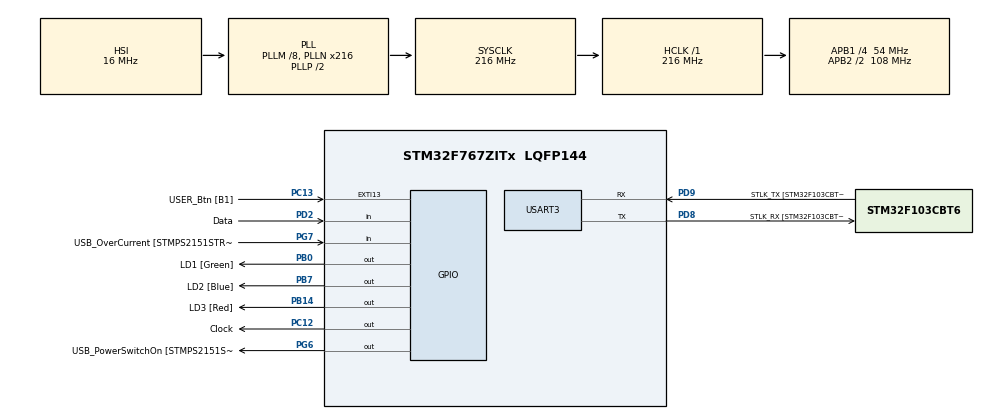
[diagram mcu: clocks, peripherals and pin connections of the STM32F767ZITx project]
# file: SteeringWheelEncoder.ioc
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Mcu.Family=STM32F7
Mcu.Name=STM32F767ZITx
Mcu.Package=LQFP144
NVIC.PriorityGroup=NVIC_PRIORITYGROUP_4
NVIC.TIM6_DAC_IRQn=true\:0\:0\:false\:false\:true\:true\:true
NVIC.TIM7_IRQn=true\:0\:0\:false\:false\:true\:true\:true
PA1.GPIO_Label=RMII_REF_CLK [LAN8742A-CZ-TR_REFCLK0]
PA1.Signal=ETH_REF_CLK
PA10.GPIO_Label=USB_ID
PA10.Signal=USB_OTG_FS_ID
PA11.GPIO_Label=USB_DM
PA11.Signal=USB_OTG_FS_DM
PA12.GPIO_Label=USB_DP
PA12.Signal=USB_OTG_FS_DP
PA13.GPIO_Label=TMS
PA13.Signal=SYS_JTMS-SWDIO
PA14.GPIO_Label=TCK
PA14.Signal=SYS_JTCK-SWCLK
PA2.GPIO_Label=RMII_MDIO [LAN8742A-CZ-TR_MDIO]
PA2.Signal=ETH_MDIO
PA7.GPIO_Label=RMII_CRS_DV [LAN8742A-CZ-TR_CRS_DV]
PA7.Signal=ETH_CRS_DV
PA8.GPIO_Label=USB_SOF [TP1]
PA8.Signal=USB_OTG_FS_SOF
PA9.GPIO_Label=USB_VBUS
PA9.Signal=USB_OTG_FS_VBUS
PB0.GPIO_Label=LD1 [Green]
PB0.Signal=GPIO_Output
PB13.GPIO_Label=RMII_TXD1 [LAN8742A-CZ-TR_TXD1]
PB13.Signal=ETH_TXD1
PB14.GPIO_Label=LD3 [Red]
PB14.Signal=GPIO_Output
PB3.GPIO_Label=SW0
PB3.Signal=SYS_JTDO-SWO
PB7.GPIO_Label=LD2 [Blue]
PB7.Signal=GPIO_Output
PC1.GPIO_Label=RMII_MDC [LAN8742A-CZ-TR_MDC]
PC1.Signal=ETH_MDC
PC12.GPIO_Label=Clock
PC12.GPIO_Speed=GPIO_SPEED_FREQ_VERY_HIGH
PC12.Signal=GPIO_Output
PC13.GPIO_Label=USER_Btn [B1]
PC13.Signal=GPXTI13
PC14/OSC32_IN.Signal=RCC_OSC32_IN
PC15/OSC32_OUT.Signal=RCC_OSC32_OUT
PC4.GPIO_Label=RMII_RXD0 [LAN8742A-CZ-TR_RXD0]
PC4.Signal=ETH_RXD0
PC5.GPIO_Label=RMII_RXD1 [LAN8742A-CZ-TR_RXD1]
PC5.Signal=ETH_RXD1
PD2.GPIO_Label=Data
PD2.Signal=GPIO_Input
PD8.GPIO_Label=STLK_RX [STM32F103CBT6_PA3]
PD8.Mode=Asynchronous
PD8.Signal=USART3_TX
PD9.GPIO_Label=STLK_TX [STM32F103CBT6_PA2]
PD9.Mode=Asynchronous
PD9.Signal=USART3_RX
PG11.GPIO_Label=RMII_TX_EN [LAN8742A-CZ-TR_TXEN]
PG11.Signal=ETH_TX_EN
PG13.GPIO_Label=RMII_TXD0 [LAN8742A-CZ-TR_TXD0]
PG13.Signal=ETH_TXD0
PG6.GPIO_Label=USB_PowerSwitchOn [STMPS2151STR_EN]
PG6.Signal=GPIO_Output
PG7.GPIO_Label=USB_OverCurrent [STMPS2151STR_FAULT]
PG7.Signal=GPIO_Input
PH0/OSC_IN.GPIO_Label=MCO [STM32F103CBT6_PA8]
PH0/OSC_IN.Signal=RCC_OSC_IN
PH1/OSC_OUT.Signal=RCC_OSC_OUT
ProjectManager.HeapSize=0x200
ProjectManager.StackSize=0x400
ProjectManager.TargetToolchain=Makefile
RCC.48MHZClocksFreq_Value=24000000
RCC.AHBFreq_Value=216000000
RCC.APB1CLKDivider=RCC_HCLK_DIV4
RCC.APB1Freq_Value=54000000
RCC.APB1TimFreq_Value=108000000
RCC.APB2CLKDivider=RCC_HCLK_DIV2
RCC.APB2Freq_Value=108000000
RCC.APB2TimFreq_Value=216000000
RCC.CortexFreq_Value=216000000
RCC.HCLKFreq_Value=216000000
RCC.HSE_VALUE=16000000
RCC.HSI_VALUE=16000000
RCC.LSE_VALUE=32768
RCC.PLLM=8
RCC.PLLMUL=RCC_PLL_MUL9
RCC.PLLN=216
RCC.PRESCALERUSB=RCC_USBCLKSOURCE_PLL_DIV1_5
RCC.SYSCLKFreq_VALUE=216000000
RCC.SYSCLKSource=RCC_SYSCLKSOURCE_PLLCLK
RCC.SYSCLKSourceVirtual=RCC_SYSCLKSOURCE_PLLCLK
RCC.USBFreq_Value=216000000
RCC.VCOOutputFreq_Value=432000000
TIM6.AutoReloadPreload=TIM_AUTORELOAD_PRELOAD_ENABLE
TIM6.Period=99
TIM6.Prescaler=54
TIM7.Period=3000
TIM7.Prescaler=9000
USART3.VirtualMode-Asynchronous=VM_ASYNC
VP_TIM6_VS_ClockSourceINT.Mode=Enable_Timer
VP_TIM7_VS_ClockSourceINT.Mode=Enable_Timer
board=NUCLEO-F767ZI

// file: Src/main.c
/* USER CODE BEGIN Header */
/**
  ******************************************************************************
  * @file           : main.c
  * @brief          : Main program body
  ******************************************************************************
  * @attention
  *
  * <h2><center>&copy; Copyright (c) 2020 STMicroelectronics.
  * All rights reserved.</center></h2>
  *
  * This software component is licensed by ST under BSD 3-Clause license,
  * the "License"; You may not use this file except in compliance with the
  * License. You may obtain a copy of the License at:
  *                        opensource.org/licenses/BSD-3-Clause
  *
  ******************************************************************************
  */
/* USER CODE END Header */

#include "main.h"
#include "Eagle_TRT.h"

#include "string.h"
#include "stdio.h"
#include "stdlib.h"
#include <inttypes.h>
#include "stm32f7xx_hal_gpio.h"
#include "stm32f7xx_it.h"
#include <math.h>

/* USER CODE BEGIN PTD */
typedef struct
{
  int data_size;         // Bits sent from the sensor. Exclude the error flag
  int error_flag;        // Return value if the encoder has errors
  int error_data_status; // Here we save the actual signal from the encoder
  int clock_period;      // Period between each data frame readed in milliseconds
  int clock_status;      // Here the status of the clock is saved
  int data_freq_Hz;      // Reading speed of the data frame
  int data[12];          // Binary value of the data readed from the steer encoder
  int steer_zero;        // In this variable will be saved the value for the position zero
  int data_count;        // Counter used to check when the buffer is full

  float max_delta_angle;
  float frequency;
  int frequency_timer_Hz;

  int angle;          // First angle calculated
  int converted_data; // Angle data

  TIM_HandleTypeDef *TimerInstance; // Instance to the timer used to generate the clock to read the data

  GPIO_TypeDef *ClockPinName;
  GPIO_TypeDef *DataPinName;
  uint16_t ClockPinNumber;
  uint16_t DataPinNumber;

} steer_enc;
/* USER CODE END PTD */

TIM_HandleTypeDef htim6;
TIM_HandleTypeDef htim7;

UART_HandleTypeDef huart3;

/* USER CODE BEGIN PV */
// steer_enc steer;
extern enc_stc enc;
TIM_HandleTypeDef a_TimerInstance6 = {.Instance = TIM6};
TIM_HandleTypeDef a_TimerInstance7 = {.Instance = TIM7};

char hmessage[256] = "";

/* USER CODE END PV */

void SystemClock_Config(void);
static void MX_GPIO_Init(void);
static void MX_TIM6_Init(void);
static void MX_TIM7_Init(void);
static void MX_USART3_UART_Init(void);
/* USER CODE BEGIN PFP */
// void print(UART_HandleTypeDef *huart, char *text);
void read_steer_SSI();
void check_steer_error(steer_enc *steer);
// int bin_dec(int *bin, int size);
// double Power(int base, int expn);
/* USER CODE END PFP */

/* USER CODE BEGIN 0 */
int steer_enc_prescaler;
int encoder_counter;
int previous_millis;
int second_millis;
/* USER CODE END 0 */

int main(void)
{

  /* MCU Configuration--------------------------------------------------------*/

  /* Reset of all peripherals, Initializes the Flash interface and the Systick. */
  HAL_Init();

  /* Configure the system clock */
  SystemClock_Config();

  /* Initialize all configured peripherals */
  MX_GPIO_Init();
  MX_TIM6_Init();
  MX_TIM7_Init();
  MX_USART3_UART_Init();
  /* USER CODE BEGIN 2 */
    steer_enc_prescaler = htim6.Init.Period;
    steer_enc_prescaler /= 3;
    steer_enc_prescaler /= 20;
    steer_enc_prescaler += 40;
    enc.steer_enc_prescaler = steer_enc_prescaler;

    enc.ClockPinName = GPIOC;
    enc.ClockPinNumber = GPIO_PIN_12;
    enc.DataPinName = GPIOD;
    enc.DataPinNumber = GPIO_PIN_2;

    enc.dx_wheel = 1;
    enc.interrupt_flag = 0;
    enc.TimerInstance = &a_TimerInstance6;
    enc.average_speed = 0;
    enc.wheel_diameter = 0.395;
    enc.data_size = 14;
    enc.clock_period = 2;
    enc.wheel_rotation = 0;
    enc.Km = 0;

  //Enabling the Timer that gives the time between each reading
  HAL_TIM_Base_Start(&htim7);
  HAL_TIM_Base_Start_IT(&htim7);

  enc.max_delta_angle = 90;

    enc.frequency = 80;
    HAL_GPIO_WritePin(enc.ClockPinName, enc.ClockPinNumber, GPIO_PIN_SET);

  /* USER CODE END 2 */

  /* Infinite loop */
  while (1)
  {

    char altro[200] = "";
    int val = -1;
    int val2 = -1;

    val = __HAL_TIM_GET_COUNTER(&htim6);
    val2 = __HAL_TIM_GET_COUNTER(&htim7);
    sprintf(altro, "\r\n\n\n In the MAIN  =>  TIM6 = %d -- TIM7 = %d", val, val2);
    print(&huart3, altro);

    // sprintf(hmessage, "All working");
    // print(&huart3, hmessage);
  }
}

void SystemClock_Config(void)
{
  RCC_OscInitTypeDef RCC_OscInitStruct = {0};
  RCC_ClkInitTypeDef RCC_ClkInitStruct = {0};
  RCC_PeriphCLKInitTypeDef PeriphClkInitStruct = {0};

  /** Configure the main internal regulator output voltage
  */
  __HAL_RCC_PWR_CLK_ENABLE();
  __HAL_PWR_VOLTAGESCALING_CONFIG(PWR_REGULATOR_VOLTAGE_SCALE1);
  /** Initializes the CPU, AHB and APB busses clocks
  */
  RCC_OscInitStruct.OscillatorType = RCC_OSCILLATORTYPE_HSI;
  RCC_OscInitStruct.HSIState = RCC_HSI_ON;
  RCC_OscInitStruct.HSICalibrationValue = RCC_HSICALIBRATION_DEFAULT;
  RCC_OscInitStruct.PLL.PLLState = RCC_PLL_ON;
  RCC_OscInitStruct.PLL.PLLSource = RCC_PLLSOURCE_HSI;
  RCC_OscInitStruct.PLL.PLLM = 8;
  RCC_OscInitStruct.PLL.PLLN = 216;
  RCC_OscInitStruct.PLL.PLLP = RCC_PLLP_DIV2;
  RCC_OscInitStruct.PLL.PLLQ = 2;
  if (HAL_RCC_OscConfig(&RCC_OscInitStruct) != HAL_OK)
  {
    Error_Handler();
  }
  /** Activate the Over-Drive mode
  */
  if (HAL_PWREx_EnableOverDrive() != HAL_OK)
  {
    Error_Handler();
  }
  /** Initializes the CPU, AHB and APB busses clocks
  */
  RCC_ClkInitStruct.ClockType = RCC_CLOCKTYPE_HCLK|RCC_CLOCKTYPE_SYSCLK
                              |RCC_CLOCKTYPE_PCLK1|RCC_CLOCKTYPE_PCLK2;
  RCC_ClkInitStruct.SYSCLKSource = RCC_SYSCLKSOURCE_PLLCLK;
  RCC_ClkInitStruct.AHBCLKDivider = RCC_SYSCLK_DIV1;
  RCC_ClkInitStruct.APB1CLKDivider = RCC_HCLK_DIV4;
  RCC_ClkInitStruct.APB2CLKDivider = RCC_HCLK_DIV2;

  if (HAL_RCC_ClockConfig(&RCC_ClkInitStruct, FLASH_LATENCY_7) != HAL_OK)
  {
    Error_Handler();
  }
  PeriphClkInitStruct.PeriphClockSelection = RCC_PERIPHCLK_USART3;
  PeriphClkInitStruct.Usart3ClockSelection = RCC_USART3CLKSOURCE_PCLK1;
  if (HAL_RCCEx_PeriphCLKConfig(&PeriphClkInitStruct) != HAL_OK)
  {
    Error_Handler();
  }
}

static void MX_TIM6_Init(void)
{

  TIM_MasterConfigTypeDef sMasterConfig = {0};

  htim6.Instance = TIM6;
  htim6.Init.Prescaler = 54;
  htim6.Init.CounterMode = TIM_COUNTERMODE_UP;
  htim6.Init.Period = 99;
  htim6.Init.AutoReloadPreload = TIM_AUTORELOAD_PRELOAD_ENABLE;
  if (HAL_TIM_Base_Init(&htim6) != HAL_OK)
  {
    Error_Handler();
  }
  sMasterConfig.MasterOutputTrigger = TIM_TRGO_RESET;
  sMasterConfig.MasterSlaveMode = TIM_MASTERSLAVEMODE_DISABLE;
  if (HAL_TIMEx_MasterConfigSynchronization(&htim6, &sMasterConfig) != HAL_OK)
  {
    Error_Handler();
  }

}

static void MX_TIM7_Init(void)
{

  TIM_MasterConfigTypeDef sMasterConfig = {0};

  htim7.Instance = TIM7;
  htim7.Init.Prescaler = 9000;
  htim7.Init.CounterMode = TIM_COUNTERMODE_UP;
  htim7.Init.Period = 3000;
  htim7.Init.AutoReloadPreload = TIM_AUTORELOAD_PRELOAD_DISABLE;
  if (HAL_TIM_Base_Init(&htim7) != HAL_OK)
  {
    Error_Handler();
  }
  sMasterConfig.MasterOutputTrigger = TIM_TRGO_RESET;
  sMasterConfig.MasterSlaveMode = TIM_MASTERSLAVEMODE_DISABLE;
  if (HAL_TIMEx_MasterConfigSynchronization(&htim7, &sMasterConfig) != HAL_OK)
  {
    Error_Handler();
  }

}

static void MX_USART3_UART_Init(void)
{

  huart3.Instance = USART3;
  huart3.Init.BaudRate = 115200;
  huart3.Init.WordLength = UART_WORDLENGTH_8B;
  huart3.Init.StopBits = UART_STOPBITS_1;
  huart3.Init.Parity = UART_PARITY_NONE;
  huart3.Init.Mode = UART_MODE_TX_RX;
  huart3.Init.HwFlowCtl = UART_HWCONTROL_NONE;
  huart3.Init.OverSampling = UART_OVERSAMPLING_16;
  huart3.Init.OneBitSampling = UART_ONE_BIT_SAMPLE_DISABLE;
  huart3.AdvancedInit.AdvFeatureInit = UART_ADVFEATURE_NO_INIT;
  if (HAL_UART_Init(&huart3) != HAL_OK)
  {
    Error_Handler();
  }

}

static void MX_GPIO_Init(void)
{
  GPIO_InitTypeDef GPIO_InitStruct = {0};

  /* GPIO Ports Clock Enable */
  __HAL_RCC_GPIOC_CLK_ENABLE();
  __HAL_RCC_GPIOH_CLK_ENABLE();
  __HAL_RCC_GPIOA_CLK_ENABLE();
  __HAL_RCC_GPIOB_CLK_ENABLE();
  __HAL_RCC_GPIOD_CLK_ENABLE();
  __HAL_RCC_GPIOG_CLK_ENABLE();

  /*Configure GPIO pin Output Level */
  HAL_GPIO_WritePin(GPIOB, LD1_Pin|LD3_Pin|LD2_Pin, GPIO_PIN_RESET);

  /*Configure GPIO pin Output Level */
  HAL_GPIO_WritePin(USB_PowerSwitchOn_GPIO_Port, USB_PowerSwitchOn_Pin, GPIO_PIN_RESET);

  /*Configure GPIO pin Output Level */
  HAL_GPIO_WritePin(Clock_GPIO_Port, Clock_Pin, GPIO_PIN_RESET);

  /*Configure GPIO pin : USER_Btn_Pin */
  GPIO_InitStruct.Pin = USER_Btn_Pin;
  GPIO_InitStruct.Mode = GPIO_MODE_IT_RISING;
  GPIO_InitStruct.Pull = GPIO_NOPULL;
  HAL_GPIO_Init(USER_Btn_GPIO_Port, &GPIO_InitStruct);

  /*Configure GPIO pins : RMII_MDC_Pin RMII_RXD0_Pin RMII_RXD1_Pin */
  GPIO_InitStruct.Pin = RMII_MDC_Pin|RMII_RXD0_Pin|RMII_RXD1_Pin;
  GPIO_InitStruct.Mode = GPIO_MODE_AF_PP;
  GPIO_InitStruct.Pull = GPIO_NOPULL;
  GPIO_InitStruct.Speed = GPIO_SPEED_FREQ_VERY_HIGH;
  GPIO_InitStruct.Alternate = GPIO_AF11_ETH;
  HAL_GPIO_Init(GPIOC, &GPIO_InitStruct);

  /*Configure GPIO pins : RMII_REF_CLK_Pin RMII_MDIO_Pin RMII_CRS_DV_Pin */
  GPIO_InitStruct.Pin = RMII_REF_CLK_Pin|RMII_MDIO_Pin|RMII_CRS_DV_Pin;
  GPIO_InitStruct.Mode = GPIO_MODE_AF_PP;
  GPIO_InitStruct.Pull = GPIO_NOPULL;
  GPIO_InitStruct.Speed = GPIO_SPEED_FREQ_VERY_HIGH;
  GPIO_InitStruct.Alternate = GPIO_AF11_ETH;
  HAL_GPIO_Init(GPIOA, &GPIO_InitStruct);

  /*Configure GPIO pins : LD1_Pin LD3_Pin LD2_Pin */
  GPIO_InitStruct.Pin = LD1_Pin|LD3_Pin|LD2_Pin;
  GPIO_InitStruct.Mode = GPIO_MODE_OUTPUT_PP;
  GPIO_InitStruct.Pull = GPIO_NOPULL;
  GPIO_InitStruct.Speed = GPIO_SPEED_FREQ_LOW;
  HAL_GPIO_Init(GPIOB, &GPIO_InitStruct);

  /*Configure GPIO pin : RMII_TXD1_Pin */
  GPIO_InitStruct.Pin = RMII_TXD1_Pin;
  GPIO_InitStruct.Mode = GPIO_MODE_AF_PP;
  GPIO_InitStruct.Pull = GPIO_NOPULL;
  GPIO_InitStruct.Speed = GPIO_SPEED_FREQ_VERY_HIGH;
  GPIO_InitStruct.Alternate = GPIO_AF11_ETH;
  HAL_GPIO_Init(RMII_TXD1_GPIO_Port, &GPIO_InitStruct);

  /*Configure GPIO pin : USB_PowerSwitchOn_Pin */
  GPIO_InitStruct.Pin = USB_PowerSwitchOn_Pin;
  GPIO_InitStruct.Mode = GPIO_MODE_OUTPUT_PP;
  GPIO_InitStruct.Pull = GPIO_NOPULL;
  GPIO_InitStruct.Speed = GPIO_SPEED_FREQ_LOW;
  HAL_GPIO_Init(USB_PowerSwitchOn_GPIO_Port, &GPIO_InitStruct);

  /*Configure GPIO pin : USB_OverCurrent_Pin */
  GPIO_InitStruct.Pin = USB_OverCurrent_Pin;
  GPIO_InitStruct.Mode = GPIO_MODE_INPUT;
  GPIO_InitStruct.Pull = GPIO_NOPULL;
  HAL_GPIO_Init(USB_OverCurrent_GPIO_Port, &GPIO_InitStruct);

  /*Configure GPIO pins : USB_SOF_Pin USB_ID_Pin USB_DM_Pin USB_DP_Pin */
  GPIO_InitStruct.Pin = USB_SOF_Pin|USB_ID_Pin|USB_DM_Pin|USB_DP_Pin;
  GPIO_InitStruct.Mode = GPIO_MODE_AF_PP;
  GPIO_InitStruct.Pull = GPIO_NOPULL;
  GPIO_InitStruct.Speed = GPIO_SPEED_FREQ_VERY_HIGH;
  GPIO_InitStruct.Alternate = GPIO_AF10_OTG_FS;
  HAL_GPIO_Init(GPIOA, &GPIO_InitStruct);

  /*Configure GPIO pin : USB_VBUS_Pin */
  GPIO_InitStruct.Pin = USB_VBUS_Pin;
  GPIO_InitStruct.Mode = GPIO_MODE_INPUT;
  GPIO_InitStruct.Pull = GPIO_NOPULL;
  HAL_GPIO_Init(USB_VBUS_GPIO_Port, &GPIO_InitStruct);

  /*Configure GPIO pin : Clock_Pin */
  GPIO_InitStruct.Pin = Clock_Pin;
  GPIO_InitStruct.Mode = GPIO_MODE_OUTPUT_PP;
  GPIO_InitStruct.Pull = GPIO_NOPULL;
  GPIO_InitStruct.Speed = GPIO_SPEED_FREQ_VERY_HIGH;
  HAL_GPIO_Init(Clock_GPIO_Port, &GPIO_InitStruct);

  /*Configure GPIO pin : Data_Pin */
  GPIO_InitStruct.Pin = Data_Pin;
  GPIO_InitStruct.Mode = GPIO_MODE_INPUT;
  GPIO_InitStruct.Pull = GPIO_NOPULL;
  HAL_GPIO_Init(Data_GPIO_Port, &GPIO_InitStruct);

  /*Configure GPIO pins : RMII_TX_EN_Pin RMII_TXD0_Pin */
  GPIO_InitStruct.Pin = RMII_TX_EN_Pin|RMII_TXD0_Pin;
  GPIO_InitStruct.Mode = GPIO_MODE_AF_PP;
  GPIO_InitStruct.Pull = GPIO_NOPULL;
  GPIO_InitStruct.Speed = GPIO_SPEED_FREQ_VERY_HIGH;
  GPIO_InitStruct.Alternate = GPIO_AF11_ETH;
  HAL_GPIO_Init(GPIOG, &GPIO_InitStruct);

}

/* USER CODE BEGIN 4 */
// print on uart
// void print(UART_HandleTypeDef *huart, char *text)
// {
//   HAL_UART_Transmit(huart, (uint8_t *)text, strlen(text), 0xFFFF);
// }

void HAL_TIM_PeriodElapsedCallback(TIM_HandleTypeDef *htim)
{
  char mes[200] = "";
  int val = -1;
  int val2 = -1;

  val = __HAL_TIM_GET_COUNTER(&htim6);
  val2 = __HAL_TIM_GET_COUNTER(&htim7);
  // sprintf(mes, "\r\n TIM6 = %d -- TIM7 = %d", val, val2);
  // print(&huart3, mes);
  /**
   * This interrupt is used to start the clock to retrieve the data frame from the encoder
  */
  if (htim == &htim7)
    {
        encoder_tim_interrupt(&enc);
    }

}

// void read_steer_SSI()
// {
//   // char message[256] = "";
//   // char message2[256] = "";
//   // char mes[200] = "";
//   // int val = -1;
//   // int val2 = -1;

//   // sprintf(message, "\r\n data_count = %u -- clock_status = %u", steer.data_count, steer.clock_status);
//   // // sprintf(message2, "\r\nSpeed1 = %f -- Speed2 = %f", wheel_speed, wheel_speed2);
//   // print(&huart3, message);
//   // // print(&huart3, message2);
//   // val = __HAL_TIM_GET_COUNTER(&htim6);
//   // val2 = __HAL_TIM_GET_COUNTER(&htim7);
//   // sprintf(mes, "\r\n Inside the SSI  =>  TIM6 = %d -- TIM7 = %d", val, val2);
//   // print(&huart3, mes);
//   // check if the status of clock given as input for the encoder
//   if (steer.data_count < steer.data_size)
//   {

//     if (steer.clock_status)
//     {
//       // In this case the clock is falling, so we are in the middle of the bit sent by the encoder
//       // so, we can read the bit and be sure that it is correct
//       steer.clock_status = 0;
//       HAL_GPIO_WritePin(steer.ClockPinName, steer.data_size, GPIO_PIN_RESET);
//       // In the first falling there is no data, so we start reading only from the second falling
//       if (steer.data_count > 0)
//       {
//         steer.data[steer.data_count] = HAL_GPIO_ReadPin(steer.DataPinName, steer.DataPinNumber);
//         if (steer.data[steer.data_count])
//         {
//           HAL_GPIO_TogglePin(GPIOB, GPIO_PIN_0);
//         }
//       }
//     }
//     else
//     {
//       /* In this case the clock is rising and the encoder is giving us the next bit to read */
//       steer.clock_status = 1;
//       HAL_GPIO_WritePin(steer.ClockPinName, steer.data_size, GPIO_PIN_SET);
//       steer.data_count++;
//     }
//   }
//   else if (steer.data_count == steer.data_size)
//   {
//     /**
//      * Now we can start to convert the binary number and get the angle of the steering.
//      * Then we are going to restart the timer 7 in order to get another data frame
//     */

//     steer.converted_data = bin_dec(steer.data, steer.data_size);
//     steer.data_count = 0;

//     // char resolution_mes[256] = "";
//     // sprintf(resolution_mes, "\r\nresolution = %u \n", steer.converted_data);
//     // print(&huart3, resolution_mes);

//     // stop the timer 6 and restart the timer 7
//     HAL_TIM_Base_Stop(&htim6);
//     // The next line it is not necessary but can be a good practice
//     __HAL_TIM_SET_COUNTER(&htim6, 0);

//     HAL_TIM_Base_Start(&htim7);
//     HAL_TIM_Base_Start_IT(&htim7);
//   }
//   else
//   {
//     /* in this case we have an error */
//     check_steer_error(&steer);
//   }
// }

void check_steer_error(steer_enc *steer)
{
  steer->error_flag = 1;
  steer->error_data_status = HAL_GPIO_ReadPin(steer->DataPinName, steer->DataPinNumber);
  print(&huart3, "\nError during the SSI reading!\n");
}

//function to calculate the decimal value from MSB binary array
//bin = pointer to binary array
//max = size of the array
// int bin_dec(int *bin, int size)
// {

//   int dec = 0;

//   for (int i = 0; i < size; i++)
//   {
//     if (bin[i] == 1)
//     {
//       dec += Power(2, size - i - 1);
//     }
//   }
//   return dec;
// }

// //function to calculate the power of a given number
// double Power(int base, int expn)
// {

//   double result = 1;

//   if (expn != 0)
//   {
//     for (int j = 0; j < expn; j++)
//     {
//       result = result * base;
//     }
//   }

//   return result;
// }

/* USER CODE END 4 */

void Error_Handler(void)
{
}

/************************ (C) COPYRIGHT STMicroelectronics *****END OF FILE****/
